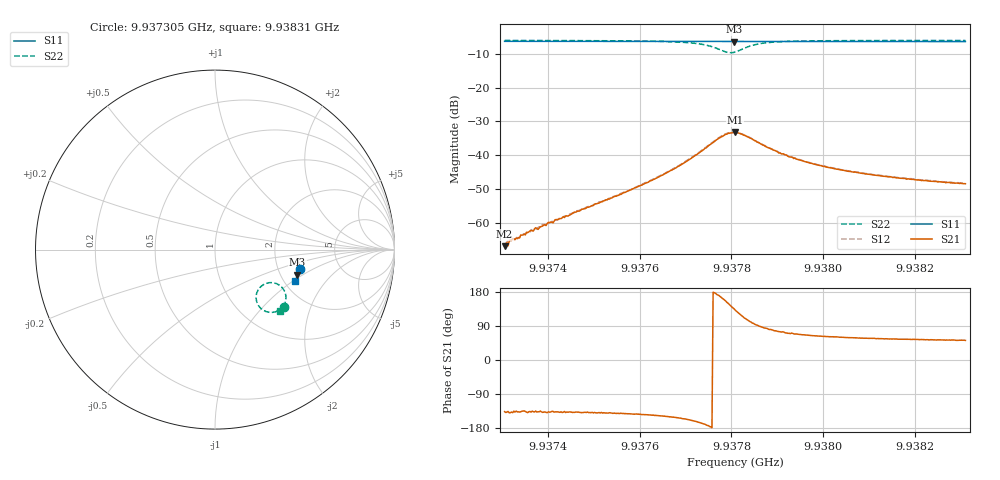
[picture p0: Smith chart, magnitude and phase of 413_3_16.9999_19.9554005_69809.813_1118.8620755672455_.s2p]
#  HZ  S  RI  R  50.00
! Rohde & Schwarz Vector Network Analyzer
! Rohde-Schwarz,ZNB20-2Port,1311601062101988,3.16
! Created: UTC 3/20/2024, 11:10:39 PM
! freq[Hz]  re:S11  im:S11  re:S21  im:S21  re:S12  im:S12  re:S22  im:S22
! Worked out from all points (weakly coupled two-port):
!   401 points, 9.937305 GHz to 9.93831 GHz, reference 50 ohm
!   highest |S21| = -33.26 dB at 9.937808 GHz (marker M1); lowest = -66.9 dB at 9.937305 GHz (marker M2)
!   lowest |S11| = -6.4 dB at 9.937805 GHz (marker M3), VSWR 2.84, Z = 123 - j44.7 ohm
!   |S11| at or under -10 dB: nowhere
!   |S22| runs from -9.7 to -6.1 dB; largest |S21 - S12| = 0.00095
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9.9373055e9  0.4712 -0.1088  -0.000325 -0.000311  -0.000362 -0.000303  0.3839 -0.3173
9.937308e9  0.4711 -0.109  -0.00036 -0.000318  -0.000371 -0.000326  0.3837 -0.3174
9.9373205e9  0.4708 -0.1097  -0.000403 -0.000371  -0.000412 -0.000359  0.3827 -0.3181
9.9373331e9  0.4705 -0.1107  -0.000423 -0.000399  -0.000438 -0.000408  0.3818 -0.319
9.9373582e9  0.47 -0.1124  -0.000532 -0.000503  -0.000547 -0.00049  0.3798 -0.3211
9.9373933e9  0.4693 -0.1148  -0.000684 -0.000638  -0.000697 -0.000654  0.3766 -0.3235
9.9374737e9  0.4676 -0.1201  -0.0012 -0.00104  -0.00118 -0.00103  0.3686 -0.3302
9.937554e9  0.4658 -0.1256  -0.00197 -0.00161  -0.00204 -0.0016  0.3573 -0.3377
9.9376419e9  0.4635 -0.1314  -0.00401 -0.0026  -0.00412 -0.0026  0.3359 -0.3464
9.9376921e9  0.4621 -0.1349  -0.00668 -0.00317  -0.00678 -0.00312  0.312 -0.35
9.9377449e9  0.4601 -0.1382  -0.0127 -0.00187  -0.0131 -0.00177  0.2627 -0.3336
9.93778e9  0.4585 -0.1397  -0.0181 0.00561  -0.0185 0.00627  0.2291 -0.2672
9.9377926e9  0.4579 -0.1399  -0.0182 0.0106  -0.0181 0.0112  0.2381 -0.2291
9.9378051e9  0.4579 -0.1401  -0.0154 0.0151  -0.015 0.0159  0.2662 -0.1977
9.9378076e9  0.458 -0.1402  -0.0147 0.016  -0.0144 0.0165  0.2735 -0.1934
9.9378277e9  0.4584 -0.1409  -0.00711 0.0184  -0.0069 0.0187  0.333 -0.1866
9.9378629e9  0.4584 -0.1435  0.000426 0.0148  0.000807 0.0149  0.3854 -0.2277
9.9379056e9  0.4578 -0.1467  0.00288 0.0104  0.00309 0.0104  0.3955 -0.2674
9.9379759e9  0.456 -0.1518  0.00327 0.00678  0.00336 0.0068  0.3897 -0.2992
9.9380562e9  0.4542 -0.1572  0.00297 0.00493  0.00311 0.00496  0.3808 -0.3167
9.9381441e9  0.4518 -0.1628  0.00272 0.00394  0.00277 0.00395  0.3728 -0.3283
9.9383098e9  0.4473 -0.1735  0.00234 0.00296  0.00241 0.00296  0.3603 -0.3428
